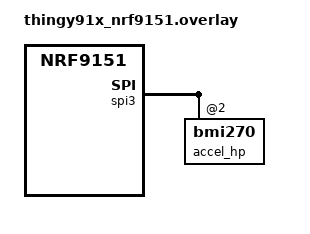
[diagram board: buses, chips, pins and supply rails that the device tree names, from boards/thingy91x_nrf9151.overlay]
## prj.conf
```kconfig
CONFIG_BOOTLOADER_MCUBOOT=y
CONFIG_STDOUT_CONSOLE=y
CONFIG_GPIO=y
CONFIG_SPI=y
CONFIG_SENSOR=y
```

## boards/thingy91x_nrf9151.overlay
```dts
&spi3 {
	accel_hp: accelerometer_hp: bmi270@2{
		status = "okay";
	};
};
```

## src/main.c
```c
/*
 * Copyright (c) 2021 Bosch Sensortec GmbH
 *
 * SPDX-License-Identifier: Apache-2.0
 */

#include <zephyr/kernel.h>
#include <zephyr/device.h>
#include <zephyr/drivers/sensor.h>
#include <stdio.h>

int main(void)
{
	const struct device *const dev = DEVICE_DT_GET_ONE(bosch_bmi270);
	struct sensor_value acc[3], gyr[3];
	struct sensor_value full_scale, sampling_freq, oversampling;

	if (!device_is_ready(dev)) {
		printf("Device %s is not ready\n", dev->name);
		return 0;
	}

	printf("Device %p name is %s\n", dev, dev->name);

	/* Setting scale in G, due to loss of precision if the SI unit m/s^2
	 * is used
	 */
	full_scale.val1 = 2;            /* G */
	full_scale.val2 = 0;
	sampling_freq.val1 = 100;       /* Hz. Performance mode */
	sampling_freq.val2 = 0;
	oversampling.val1 = 1;          /* Normal mode */
	oversampling.val2 = 0;

	sensor_attr_set(dev, SENSOR_CHAN_ACCEL_XYZ, SENSOR_ATTR_FULL_SCALE,
			&full_scale);
	sensor_attr_set(dev, SENSOR_CHAN_ACCEL_XYZ, SENSOR_ATTR_OVERSAMPLING,
			&oversampling);
	/* Set sampling frequency last as this also sets the appropriate
	 * power mode. If already sampling, change to 0.0Hz before changing
	 * other attributes
	 */
	sensor_attr_set(dev, SENSOR_CHAN_ACCEL_XYZ,
			SENSOR_ATTR_SAMPLING_FREQUENCY,
			&sampling_freq);


	/* Setting scale in degrees/s to match the sensor scale */
	full_scale.val1 = 500;          /* dps */
	full_scale.val2 = 0;
	sampling_freq.val1 = 100;       /* Hz. Performance mode */
	sampling_freq.val2 = 0;
	oversampling.val1 = 1;          /* Normal mode */
	oversampling.val2 = 0;

	sensor_attr_set(dev, SENSOR_CHAN_GYRO_XYZ, SENSOR_ATTR_FULL_SCALE,
			&full_scale);
	sensor_attr_set(dev, SENSOR_CHAN_GYRO_XYZ, SENSOR_ATTR_OVERSAMPLING,
			&oversampling);
	/* Set sampling frequency last as this also sets the appropriate
	 * power mode. If already sampling, change sampling frequency to
	 * 0.0Hz before changing other attributes
	 */
	sensor_attr_set(dev, SENSOR_CHAN_GYRO_XYZ,
			SENSOR_ATTR_SAMPLING_FREQUENCY,
			&sampling_freq);

	while (1) {
		/* 10ms period, 100Hz Sampling frequency */
		k_sleep(K_MSEC(10));

		sensor_sample_fetch(dev);

		sensor_channel_get(dev, SENSOR_CHAN_ACCEL_XYZ, acc);
		sensor_channel_get(dev, SENSOR_CHAN_GYRO_XYZ, gyr);

		printf("AX: %d.%06d; AY: %d.%06d; AZ: %d.%06d; "
		       "GX: %d.%06d; GY: %d.%06d; GZ: %d.%06d;\n",
		       acc[0].val1, acc[0].val2,
		       acc[1].val1, acc[1].val2,
		       acc[2].val1, acc[2].val2,
		       gyr[0].val1, gyr[0].val2,
		       gyr[1].val1, gyr[1].val2,
		       gyr[2].val1, gyr[2].val2);
               k_sleep(K_MSEC(50));
	}
	return 0;
}
```
